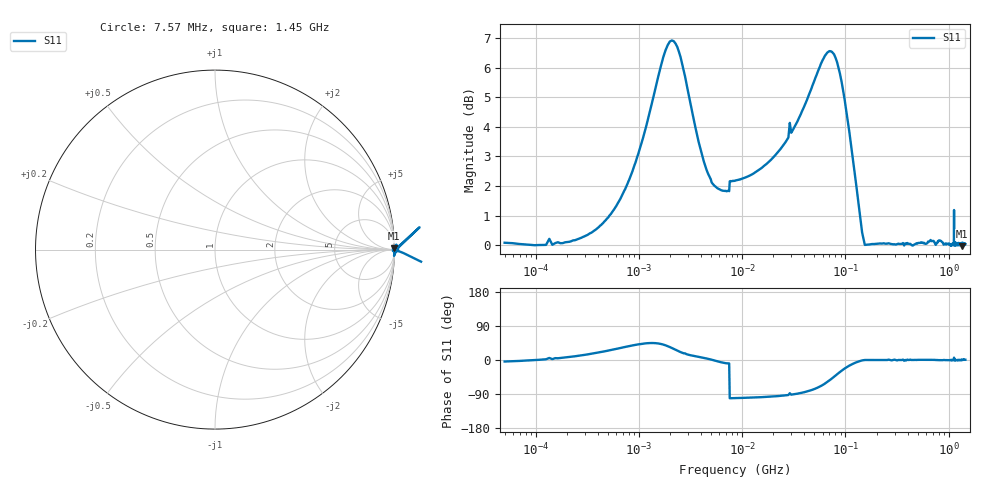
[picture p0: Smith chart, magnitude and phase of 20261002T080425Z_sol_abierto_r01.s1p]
! prueba_sol / sol_abierto / r01
# HZ S RI R 50
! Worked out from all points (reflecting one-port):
!   501 points, 50 kHz to 1.45 GHz, reference 50 ohm
!   lowest |S11| = 0.0 dB at 1.351 GHz (marker M1), VSWR 457.57, Z = 5.86e+03 + j9.99e+03 ohm
!   phase of S11 starts at -4 deg and turns +5 deg over the sweep
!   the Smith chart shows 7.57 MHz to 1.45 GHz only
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50000  1.007 -0.0706
183000  1.002 0.1046
363500  1.008 0.3158
658000  1.019 0.6255
1180000  1.143 1.11
1630000  1.485 1.353
1990000  1.829 1.242
2440000  1.959 0.8201
3430000  1.589 0.2939
4960000  1.292 0.0302
7300000  1.22 -0.1927
7750000  -0.2416 -1.261
8560000  -0.2349 -1.264
1.81e7  -0.1677 -1.373
3.16e7  -0.0112 -1.578
4.69e7  0.3396 -1.811
5.68e7  0.699 -1.884
6.49e7  1.044 -1.827
7.39e7  1.398 -1.599
8.65e7  1.65 -1.099
9.82e7  1.629 -0.6752
1e8  1.609 -0.6194
1.18e8  1.377 -0.2444
1.36e8  1.148 -0.0672
1.63e8  1.001 -0.000123
4.06e8  1.005 0.0013
1.351e9  0.9956 0.00741
1.45e9  1.004 0.0111
